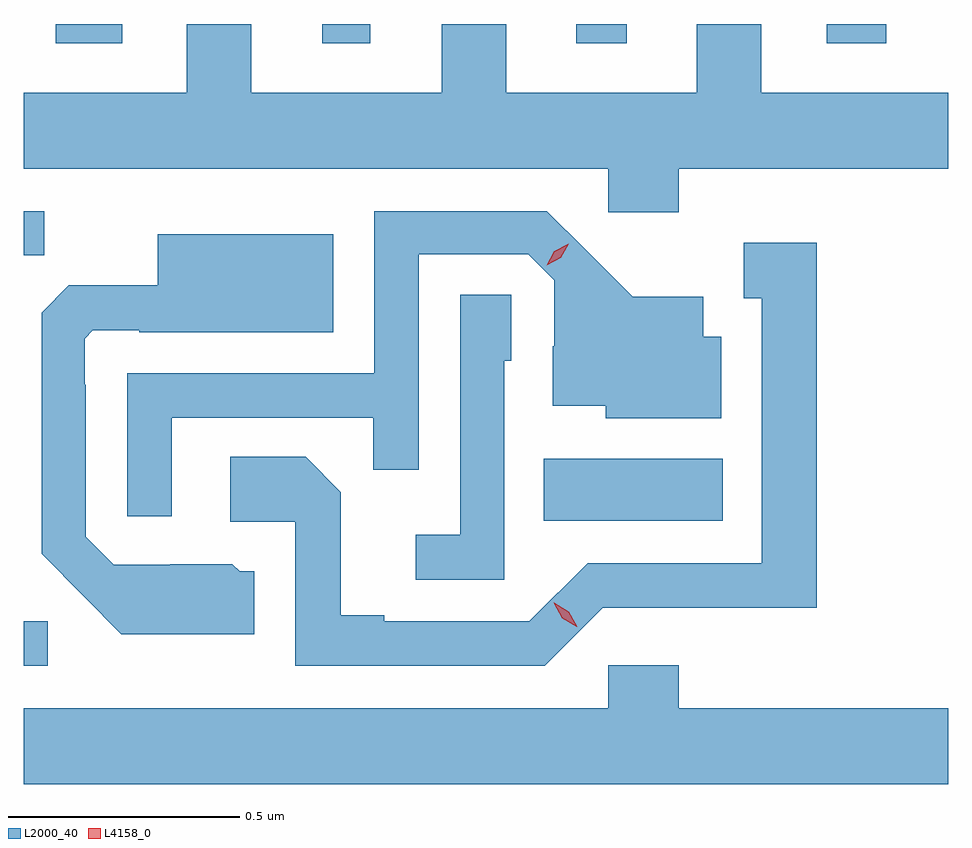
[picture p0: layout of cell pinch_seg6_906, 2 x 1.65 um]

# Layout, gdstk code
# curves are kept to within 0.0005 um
import gdstk
lib = gdstk.Library(unit=1e-6, precision=1e-09)
def R(c, l, rs):  # rectangles x0, y0, x1, y1
    for r in rs: c.add(gdstk.rectangle(r[:2], r[2:], *l))
def P(c, l, *ps):  # polygons
    for p in ps: c.add(gdstk.Polygon(p, *l))
L2000_40 = (2000, 40)
L4158_0 = (4158, 0)

pinch_seg6_906 = lib.new_cell('pinch_seg6_906')
R(pinch_seg6_906, L2000_40, [(150.673,990.216,150.724,990.312), (151.798,990.53,152.185,990.664), (150.673,991.105,150.717,991.2), (150.742,991.563,150.886,991.605), (151.319,991.563,151.423,991.605), (151.868,991.563,151.978,991.605), (152.411,991.563,152.539,991.605)])
P(pinch_seg6_906, L2000_40, [(152.09,991.292),(152.673,991.292),(152.673,991.456),(152.269,991.456),(152.269,991.605),(152.129,991.605),(152.129,991.456),(151.717,991.456),(151.717,991.605),(151.577,991.605),(151.577,991.456),(151.165,991.456),(151.165,991.605),(151.025,991.605),(151.025,991.456),(150.673,991.456),(150.673,991.292),(151.938,991.292),(151.938,991.197),(152.09,991.197)],
  [(150.993,990.753),(151.429,990.753),(151.429,990.64),(151.527,990.64),(151.527,991.107),(151.764,991.107),(151.821,991.05),(151.821,990.908),(151.817,990.908),(151.817,990.779),(151.932,990.779),(151.932,990.752),(152.182,990.752),(152.182,990.928),(152.143,990.928),(152.143,991.015),(151.991,991.015),(151.804,991.2),(151.431,991.2),(151.431,990.849),(150.897,990.849),(150.897,990.54),(150.993,990.54)],
  [(151.171,990.42),(151.14,990.42),(151.124,990.436),(150.99,990.436),(150.99,990.435),(150.867,990.435),(150.807,990.495),(150.807,990.824),(150.804,990.824),(150.804,990.924),(150.822,990.942),(150.922,990.942),(150.922,990.938),(151.342,990.938),(151.342,991.15),(150.962,991.15),(150.962,991.039),(150.77,991.039),(150.711,990.98),(150.711,990.458),(150.883,990.284),(151.171,990.284)],
  [(151.926,990.342),(152.148,990.342),(152.148,990.341),(152.389,990.341),(152.389,991.132),(152.231,991.132),(152.231,991.011),(152.27,991.011),(152.27,990.438),(151.893,990.438),(151.767,990.312),(151.453,990.312),(151.453,990.325),(151.359,990.325),(151.359,990.592),(151.283,990.668),(151.119,990.668),(151.119,990.528),(151.26,990.528),(151.26,990.216),(151.8,990.216)],
  [(151.713,990.876),(151.728,990.876),(151.728,991.019),(151.617,991.019),(151.617,990.499),(151.521,990.499),(151.521,990.402),(151.713,990.402)],
  [(152.673,990.124),(152.09,990.124),(152.09,990.217),(151.938,990.217),(151.938,990.124),(150.673,990.124),(150.673,989.96),(152.673,989.96)])
P(pinch_seg6_906, L4158_0, [(151.869,990.3),(151.838,990.319),(151.82,990.352),(151.82,990.352),(151.821,990.352),(151.852,990.333),(151.87,990.3),(151.87,990.3)],
  [(151.804,991.083),(151.804,991.083),(151.821,991.113),(151.852,991.129),(151.852,991.129),(151.852,991.129),(151.835,991.099),(151.804,991.083)])

lib.write_gds('pinch_seg6_906.gds')
